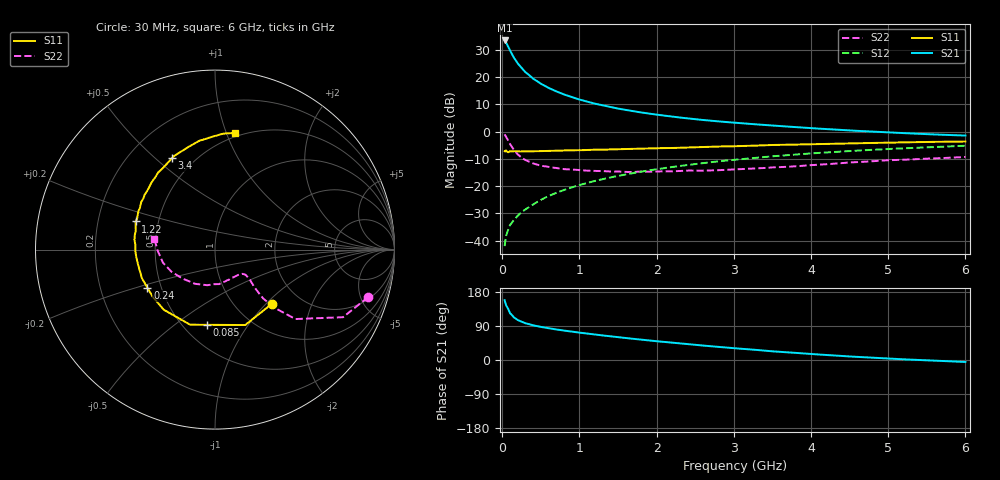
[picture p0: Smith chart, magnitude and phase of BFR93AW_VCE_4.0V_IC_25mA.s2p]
! Infineon Technologies  Discrete & RF Semiconductors
! BFR93AW
! VCE =  4.0 V,  IC =  25 mA
! Common Emitter S-Parameters:  Nov 2015
# GHz  S  MA  R  50
!  f  S11  S21  S12  S22
! GHz  MAG  ANG  MAG  ANG  MAG  ANG  MAG  ANG
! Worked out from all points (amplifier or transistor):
!   206 points, 30 MHz to 6 GHz, reference 50 ohm
!   highest |S21| = 33.5 dB at 30 MHz (marker M1)
!   |S21| within 3 dB of that: start of sweep to 87.38 MHz
!   unconditionally stable (mu >= 1): 485.9 MHz to 2.203 GHz
!   at 200 MHz: K = 0.76, MSG = 28.0 dB, |S12| = -30.9 dB
!   at 1.56 GHz: K = 1.04, MAG = 10.8 dB, |S12| = -15.9 dB
!   at 6 GHz: K = 0.91, MSG = 1.9 dB, |S12| = -5.2 dB
!   S11 on the Smith chart (normalised r, x): 30 MHz: 1.45, -1.08; 85 MHz: 0.65, -0.66; 240 MHz: 0.42, -0.22; 1.22 GHz: 0.37, +0.15; 3.4 GHz: 0.38, +0.57; 6 GHz: 0.47, +1.07
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0.03  0.4379 -43.5  47.26 157.9  0.0079 71.3  0.8925 -17.3
0.05  0.4527 -68.2  43.08 143.9  0.0123 66.2  0.807 -27.8
0.085  0.4216 -96.3  33.99 131.1  0.0171 61.9  0.6527 -36.0
0.1  0.4407 -108.3  30.84 123.4  0.0192 60.8  0.5922 -40.8
0.15  0.4401 -130.4  22.8 112.2  0.0238 61.2  0.4595 -44.5
0.2  0.4355 -142.8  17.92 105.4  0.0286 62.1  0.3828 -45.4
0.24  0.4325 -150.5  15.27 101.7  0.0323 63.3  0.3419 -44.7
0.3  0.4372 -158.5  12.34 96.9  0.0374 65.7  0.3014 -43.6
0.4  0.4366 -167.9  9.384 91.4  0.0461 68.6  0.261 -41.1
0.5  0.4404 -174.3  7.586 87.2  0.0559 69.9  0.2372 -40.0
0.6  0.444 -178.9  6.355 83.7  0.0657 70.9  0.2245 -39.5
0.7  0.4447 176.5  5.488 80.5  0.0753 71.5  0.2152 -39.8
0.9  0.4542 169.6  4.3 74.9  0.0946 71.6  0.2022 -41.9
1.04  0.4569 165.3  3.75 71.2  0.1086 71.2  0.1952 -44.7
1.22  0.4683 160.4  3.22 66.7  0.1265 70.6  0.1903 -48.6
1.6  0.4788 150.9  2.504 58.0  0.1638 68.4  0.1823 -58.5
2.02  0.4975 141.6  2.034 49.1  0.2059 65.1  0.1863 -72.7
3.1  0.5443 120.6  1.426 29.7  0.3135 55.3  0.2048 -106.0
3.4  0.5624 115.3  1.326 24.7  0.343 52.3  0.2155 -116.9
4.1  0.5923 104.0  1.137 14.5  0.407 44.9  0.2473 -141.6
5.1  0.6311 90.7  0.956 2.7  0.4875 33.9  0.3016 -168.6
6  0.6598 80.2  0.848 -5.2  0.5514 24.5  0.343 169.9
